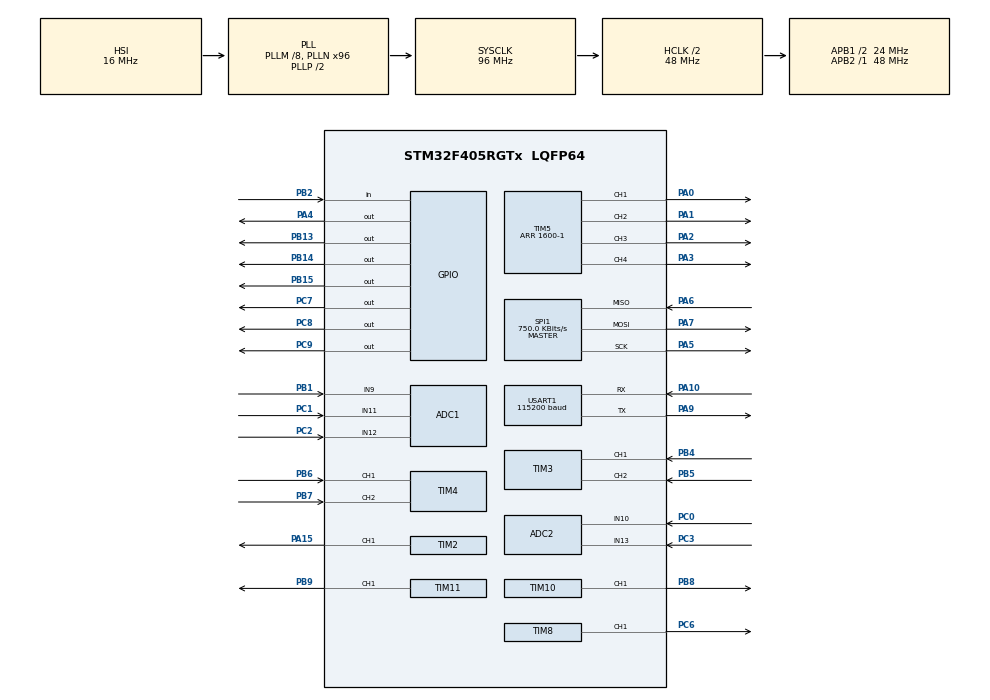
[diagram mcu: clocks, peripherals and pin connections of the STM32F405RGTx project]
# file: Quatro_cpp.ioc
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ADC1.Channel-0\#ChannelRegularConversion=ADC_CHANNEL_11
ADC1.Channel-1\#ChannelRegularConversion=ADC_CHANNEL_12
ADC1.Channel-2\#ChannelRegularConversion=ADC_CHANNEL_9
ADC1.DMAContinuousRequests=ENABLE
ADC1.NbrOfConversion=3
ADC1.NbrOfConversionFlag=1
ADC1.Rank-0\#ChannelRegularConversion=1
ADC1.Rank-1\#ChannelRegularConversion=2
ADC1.Rank-2\#ChannelRegularConversion=3
ADC1.SamplingTime-0\#ChannelRegularConversion=ADC_SAMPLETIME_56CYCLES
ADC1.SamplingTime-1\#ChannelRegularConversion=ADC_SAMPLETIME_56CYCLES
ADC1.SamplingTime-2\#ChannelRegularConversion=ADC_SAMPLETIME_56CYCLES
ADC1.master=1
ADC2.Channel-0\#ChannelRegularConversion=ADC_CHANNEL_10
ADC2.Channel-1\#ChannelRegularConversion=ADC_CHANNEL_13
ADC2.DMAContinuousRequests=ENABLE
ADC2.InjNumberOfConversion=0
ADC2.NbrOfConversion=2
ADC2.NbrOfConversionFlag=1
ADC2.Rank-0\#ChannelRegularConversion=1
ADC2.Rank-1\#ChannelRegularConversion=2
ADC2.SamplingTime-0\#ChannelRegularConversion=ADC_SAMPLETIME_56CYCLES
ADC2.SamplingTime-1\#ChannelRegularConversion=ADC_SAMPLETIME_56CYCLES
Dma.ADC1.1.Direction=DMA_PERIPH_TO_MEMORY
Dma.ADC1.1.FIFOMode=DMA_FIFOMODE_DISABLE
Dma.ADC1.1.Instance=DMA2_Stream0
Dma.ADC1.1.MemDataAlignment=DMA_MDATAALIGN_HALFWORD
Dma.ADC1.1.MemInc=DMA_MINC_ENABLE
Dma.ADC1.1.Mode=DMA_CIRCULAR
Dma.ADC1.1.PeriphDataAlignment=DMA_PDATAALIGN_HALFWORD
Dma.ADC1.1.PeriphInc=DMA_PINC_DISABLE
Dma.ADC1.1.Priority=DMA_PRIORITY_LOW
Dma.ADC2.0.Direction=DMA_PERIPH_TO_MEMORY
Dma.ADC2.0.FIFOMode=DMA_FIFOMODE_DISABLE
Dma.ADC2.0.Instance=DMA2_Stream2
Dma.ADC2.0.MemDataAlignment=DMA_MDATAALIGN_HALFWORD
Dma.ADC2.0.MemInc=DMA_MINC_ENABLE
Dma.ADC2.0.Mode=DMA_CIRCULAR
Dma.ADC2.0.PeriphDataAlignment=DMA_PDATAALIGN_HALFWORD
Dma.ADC2.0.PeriphInc=DMA_PINC_DISABLE
Dma.ADC2.0.Priority=DMA_PRIORITY_LOW
Dma.Request0=ADC2
Dma.Request1=ADC1
Mcu.Family=STM32F4
Mcu.Name=STM32F405RGTx
Mcu.Package=LQFP64
NVIC.DMA2_Stream0_IRQn=true\:0\:0\:false\:false\:true\:false\:true
NVIC.DMA2_Stream2_IRQn=true\:0\:0\:false\:false\:true\:false\:true
NVIC.PriorityGroup=NVIC_PRIORITYGROUP_4
NVIC.TIM1_TRG_COM_TIM11_IRQn=true\:0\:0\:false\:false\:true\:true\:true
NVIC.TIM1_UP_TIM10_IRQn=true\:0\:0\:false\:false\:true\:true\:true
PA0-WKUP.Signal=S_TIM5_CH1
PA1.Signal=S_TIM5_CH2
PA10.Mode=Asynchronous
PA10.Signal=USART1_RX
PA13.Mode=Serial_Wire
PA13.Signal=SYS_JTMS-SWDIO
PA14.Mode=Serial_Wire
PA14.Signal=SYS_JTCK-SWCLK
PA15.Signal=S_TIM2_CH1_ETR
PA2.Signal=S_TIM5_CH3
PA3.Signal=S_TIM5_CH4
PA4.Signal=GPIO_Output
PA5.Mode=Full_Duplex_Master
PA5.Signal=SPI1_SCK
PA6.Mode=Full_Duplex_Master
PA6.Signal=SPI1_MISO
PA7.Mode=Full_Duplex_Master
PA7.Signal=SPI1_MOSI
PA9.Mode=Asynchronous
PA9.Signal=USART1_TX
PB1.Signal=ADCx_IN9
PB13.Signal=GPIO_Output
PB14.Signal=GPIO_Output
PB15.Signal=GPIO_Output
PB2.Signal=GPIO_Input
PB4.Signal=S_TIM3_CH1
PB5.Signal=S_TIM3_CH2
PB6.Signal=S_TIM4_CH1
PB7.Signal=S_TIM4_CH2
PB8.Signal=S_TIM10_CH1
PB9.Signal=S_TIM11_CH1
PC0.Signal=ADCx_IN10
PC1.Signal=ADCx_IN11
PC2.Signal=ADCx_IN12
PC3.Signal=ADCx_IN13
PC6.Signal=S_TIM8_CH1
PC7.Signal=GPIO_Output
PC8.Signal=GPIO_Output
PC9.Signal=GPIO_Output
ProjectManager.HeapSize=0x200
ProjectManager.StackSize=0x400
ProjectManager.TargetToolchain=Makefile
RCC.48MHZClocksFreq_Value=48000000
RCC.AHBCLKDivider=RCC_SYSCLK_DIV2
RCC.AHBFreq_Value=48000000
RCC.APB1CLKDivider=RCC_HCLK_DIV2
RCC.APB1Freq_Value=24000000
RCC.APB1TimFreq_Value=48000000
RCC.APB2Freq_Value=48000000
RCC.APB2TimFreq_Value=48000000
RCC.CortexFreq_Value=48000000
RCC.HCLKFreq_Value=48000000
RCC.HSE_VALUE=25000000
RCC.HSI_VALUE=16000000
RCC.LSE_VALUE=32768
RCC.PLLM=8
RCC.PLLN=96
RCC.SYSCLKFreq_VALUE=96000000
RCC.SYSCLKSource=RCC_SYSCLKSOURCE_PLLCLK
RCC.VCOOutputFreq_Value=192000000
SH.ADCx_IN10.0=ADC2_IN10,IN10
SH.ADCx_IN11.0=ADC1_IN11,IN11
SH.ADCx_IN12.0=ADC1_IN12,IN12
SH.ADCx_IN13.0=ADC2_IN13,IN13
SH.ADCx_IN9.0=ADC1_IN9,IN9
SH.S_TIM10_CH1.0=TIM10_CH1,PWM Generation1 CH1
SH.S_TIM11_CH1.0=TIM11_CH1,PWM Generation1 CH1
SH.S_TIM2_CH1_ETR.0=TIM2_CH1,PWM Generation1 CH1
SH.S_TIM3_CH1.0=TIM3_CH1,Encoder_Interface
SH.S_TIM3_CH2.0=TIM3_CH2,Encoder_Interface
SH.S_TIM4_CH1.0=TIM4_CH1,Encoder_Interface
SH.S_TIM4_CH2.0=TIM4_CH2,Encoder_Interface
SH.S_TIM5_CH1.0=TIM5_CH1,PWM Generation1 CH1
SH.S_TIM5_CH2.0=TIM5_CH2,PWM Generation2 CH2
SH.S_TIM5_CH3.0=TIM5_CH3,PWM Generation3 CH3
SH.S_TIM5_CH4.0=TIM5_CH4,PWM Generation4 CH4
SH.S_TIM8_CH1.0=TIM8_CH1,PWM Generation1 CH1
SPI1.BaudRatePrescaler=SPI_BAUDRATEPRESCALER_64
SPI1.CLKPhase=SPI_PHASE_2EDGE
SPI1.CLKPolarity=SPI_POLARITY_HIGH
SPI1.CalculateBaudRate=750.0 KBits/s
SPI1.Direction=SPI_DIRECTION_2LINES
SPI1.Mode=SPI_MODE_MASTER
SPI1.VirtualType=VM_MASTER
TIM1.Period=100-1
TIM1.Prescaler=30-1
TIM10.Channel=TIM_CHANNEL_1
TIM10.Period=1000-1
TIM10.Prescaler=48
TIM11.Channel=TIM_CHANNEL_1
TIM11.Period=1000-1
TIM11.Prescaler=48
TIM2.Channel-PWM\ Generation1\ CH1=TIM_CHANNEL_1
TIM2.Period=1000-1
TIM2.Prescaler=48
TIM3.EncoderMode=TIM_ENCODERMODE_TI12
TIM4.EncoderMode=TIM_ENCODERMODE_TI12
TIM5.Channel-PWM\ Generation1\ CH1=TIM_CHANNEL_1
TIM5.Channel-PWM\ Generation2\ CH2=TIM_CHANNEL_2
TIM5.Channel-PWM\ Generation3\ CH3=TIM_CHANNEL_3
TIM5.Channel-PWM\ Generation4\ CH4=TIM_CHANNEL_4
TIM5.Period=1600-1
TIM8.Channel-PWM\ Generation1\ CH1=TIM_CHANNEL_1
TIM8.Period=1000-1
USART1.BaudRate=115200
USART1.VirtualMode=VM_ASYNC
VP_TIM10_VS_ClockSourceINT.Mode=Enable_Timer
VP_TIM11_VS_ClockSourceINT.Mode=Enable_Timer
VP_TIM12_VS_ClockSourceINT.Mode=Internal
VP_TIM12_VS_OPM.Mode=OPM_bit
VP_TIM1_VS_ClockSourceINT.Mode=Internal
VP_TIM2_VS_ClockSourceINT.Mode=Internal
board=custom

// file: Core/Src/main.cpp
/* USER CODE BEGIN Header */
/**
 ******************************************************************************
 * @file           : main.c
 * @brief          : Main program body
 ******************************************************************************
 * @attention
 *
 * <h2><center>&copy; Copyright (c) 2021 STMicroelectronics.
 * All rights reserved.</center></h2>
 *
 * This software component is licensed by ST under BSD 3-Clause license,
 * the "License"; You may not use this file except in compliance with the
 * License. You may obtain a copy of the License at:
 *                        opensource.org/licenses/BSD-3-Clause
 *
 ******************************************************************************
 */
/* USER CODE END Header */
#include "main.h"
#include "adc.h"
#include "dma.h"
#include "spi.h"
#include "tim.h"
#include "usart.h"
#include "gpio.h"

/* USER CODE BEGIN Includes */
#include "my_header.h"
/* USER CODE END Includes */

/* USER CODE BEGIN PTD */
hardware::LED led;
hardware::IRsensor irsensors(2300);
hardware::Speaker speaker;
undercarriage::Odometory odom(0.001);
undercarriage::Controller controller(0.001);
/* USER CODE END PTD */

void SystemClock_Config(void);

/* USER CODE BEGIN 0 */
char mode = 'i';
char initialization = 'i';
char slalom = 's';
char translation = 't';
char pivot_turn = 'p';
char mode_select = 'm';
char stop_movement = 'o';

int cnt16kHz = 0;
int cnt1kHz = 0;

std::vector<float> cur_p;
std::vector<float> cur_v;
std::vector<uint32_t> ir_data;

void HAL_TIM_PeriodElapsedCallback(TIM_HandleTypeDef *htim)
{
  if (mode != initialization)
  {
    if (htim == &htim1) //割込み16kHz
    {
      irsensors.UpdateSideValue();
      irsensors.UpdateFrontValue();

      cnt16kHz = (cnt16kHz + 1) % 16;

      if (cnt16kHz == 0) //割込み1kHz
      {
        cnt1kHz = (cnt1kHz + 1) % 1000;
        controller.UpdateBatteryVoltage(irsensors.GetBatteryVoltage());
        irsensors.Update();
        ir_data = irsensors.GetIRSensorData();
        odom.Update();
        cur_p = odom.GetPosition();
        cur_v = odom.GetVelocity();

        // controller.PartyTrick(cur_p, cur_v);

        if (cnt1kHz % 1000 == 0)
        {
          led.on_back_right();
        }
        else
          led.off_back_right();

        // controller.MotorTest();

        // else if(mode == slalom){

        // }
        // else if(mode == translation){

        // }
        // else if(mode == pivot_turn){

        // }
      }
    }
  }
}
/* USER CODE END 0 */

int main(void)
{

  /* MCU Configuration--------------------------------------------------------*/

  /* Reset of all peripherals, Initializes the Flash interface and the Systick. */
  HAL_Init();

  /* Configure the system clock */
  SystemClock_Config();

  /* Initialize all configured peripherals */
  MX_GPIO_Init();
  MX_DMA_Init();
  MX_SPI1_Init();
  MX_TIM2_Init();
  MX_TIM3_Init();
  MX_TIM4_Init();
  MX_TIM10_Init();
  MX_TIM11_Init();
  MX_TIM12_Init();
  MX_ADC1_Init();
  MX_TIM5_Init();
  MX_TIM8_Init();
  MX_USART1_UART_Init();
  MX_ADC2_Init();
  MX_TIM1_Init();
  /* USER CODE BEGIN 2 */
  HAL_TIM_Base_Start_IT(&htim1);
  HAL_TIM_PWM_Start(&htim2, TIM_CHANNEL_1);
  HAL_TIM_Encoder_Start(&htim3, TIM_CHANNEL_ALL);
  HAL_TIM_Encoder_Start(&htim4, TIM_CHANNEL_ALL);
  HAL_TIM_PWM_Start(&htim5, TIM_CHANNEL_1);
  HAL_TIM_PWM_Start(&htim5, TIM_CHANNEL_2);
  HAL_TIM_PWM_Start(&htim5, TIM_CHANNEL_3);
  HAL_TIM_PWM_Start(&htim5, TIM_CHANNEL_4);
  HAL_TIM_PWM_Start(&htim8, TIM_CHANNEL_1);
  HAL_TIM_PWM_Start(&htim10, TIM_CHANNEL_1);
  HAL_TIM_PWM_Start(&htim11, TIM_CHANNEL_1);

  setbuf(stdout, NULL);
  speaker.Beep();
  irsensors.BatteryCheck();
  irsensors.on_all_led();
  /* USER CODE END 2 */

  /* Infinite loop */
  while (1)
  {

    /* USER CODE BEGIN 3 */
    // led.on_all();
    if (mode == initialization)
    {
      irsensors.UpdateFrontValue();
      if (irsensors.StartInitialize())
      {
        speaker.Beep();
        odom.Initialize();
        speaker.Beep();
        mode = slalom; // slalom
      }
    }
  }
  /* USER CODE END 3 */
}

void SystemClock_Config(void)
{
  RCC_OscInitTypeDef RCC_OscInitStruct = {0};
  RCC_ClkInitTypeDef RCC_ClkInitStruct = {0};

  /** Configure the main internal regulator output voltage
  */
  __HAL_RCC_PWR_CLK_ENABLE();
  __HAL_PWR_VOLTAGESCALING_CONFIG(PWR_REGULATOR_VOLTAGE_SCALE1);
  /** Initializes the RCC Oscillators according to the specified parameters
  * in the RCC_OscInitTypeDef structure.
  */
  RCC_OscInitStruct.OscillatorType = RCC_OSCILLATORTYPE_HSI;
  RCC_OscInitStruct.HSIState = RCC_HSI_ON;
  RCC_OscInitStruct.HSICalibrationValue = RCC_HSICALIBRATION_DEFAULT;
  RCC_OscInitStruct.PLL.PLLState = RCC_PLL_ON;
  RCC_OscInitStruct.PLL.PLLSource = RCC_PLLSOURCE_HSI;
  RCC_OscInitStruct.PLL.PLLM = 8;
  RCC_OscInitStruct.PLL.PLLN = 96;
  RCC_OscInitStruct.PLL.PLLP = RCC_PLLP_DIV2;
  RCC_OscInitStruct.PLL.PLLQ = 4;
  if (HAL_RCC_OscConfig(&RCC_OscInitStruct) != HAL_OK)
  {
    Error_Handler();
  }
  /** Initializes the CPU, AHB and APB buses clocks
  */
  RCC_ClkInitStruct.ClockType = RCC_CLOCKTYPE_HCLK|RCC_CLOCKTYPE_SYSCLK
                              |RCC_CLOCKTYPE_PCLK1|RCC_CLOCKTYPE_PCLK2;
  RCC_ClkInitStruct.SYSCLKSource = RCC_SYSCLKSOURCE_PLLCLK;
  RCC_ClkInitStruct.AHBCLKDivider = RCC_SYSCLK_DIV2;
  RCC_ClkInitStruct.APB1CLKDivider = RCC_HCLK_DIV2;
  RCC_ClkInitStruct.APB2CLKDivider = RCC_HCLK_DIV1;

  if (HAL_RCC_ClockConfig(&RCC_ClkInitStruct, FLASH_LATENCY_1) != HAL_OK)
  {
    Error_Handler();
  }
}

void Error_Handler(void)
{
  __disable_irq();
  while (1)
  {
  }
}

/************************ (C) COPYRIGHT STMicroelectronics *****END OF FILE****/
